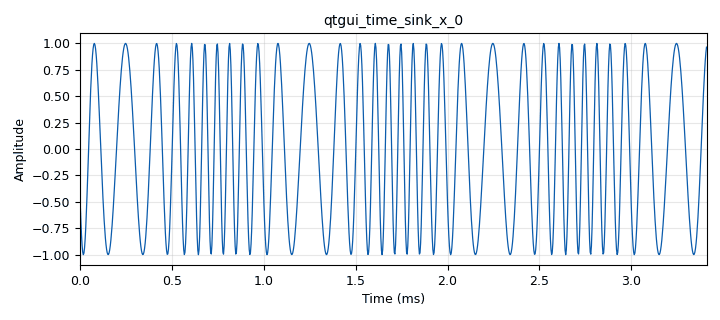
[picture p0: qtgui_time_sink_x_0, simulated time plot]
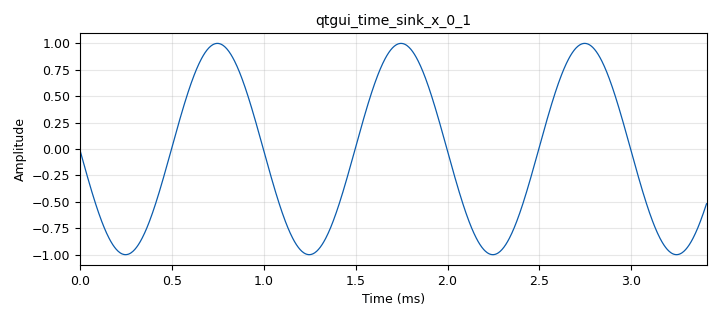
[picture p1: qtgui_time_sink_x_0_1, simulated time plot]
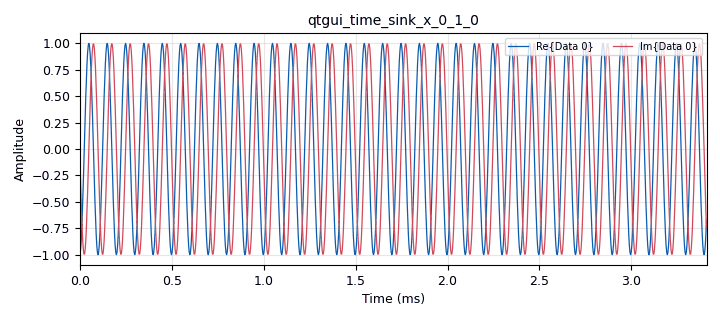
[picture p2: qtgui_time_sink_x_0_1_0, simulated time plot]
<?xml version='1.0' encoding='utf-8'?>
<?grc format='1' created='3.7.9'?>
<flow_graph>
<block>
<key>options</key>
<param><key>id</key><value>top_block</value></param>
<param><key>category</key><value>Custom</value></param>
<param><key>generate_options</key><value>qt_gui</value></param>
</block>
<block>
<key>variable</key>
<param><key>id</key><value>samp_rate</value></param>
<param><key>value</key><value>300e3</value></param>
</block>
<block>
<key>analog_phase_modulator_fc</key>
<param><key>id</key><value>analog_phase_modulator_fc_0</value></param>
<param><key>sensitivity</key><value>2*3.14*5000</value></param>
</block>
<block>
<key>analog_sig_source_x</key>
<param><key>id</key><value>analog_sig_source_x_0</value></param>
<param><key>amp</key><value>1</value></param>
<param><key>freq</key><value>1000</value></param>
<param><key>offset</key><value>0</value></param>
<param><key>type</key><value>float</value></param>
<param><key>samp_rate</key><value>samp_rate</value></param>
<param><key>waveform</key><value>analog.GR_COS_WAVE</value></param>
</block>
<block>
<key>analog_sig_source_x</key>
<param><key>id</key><value>analog_sig_source_x_0_0</value></param>
<param><key>amp</key><value>1</value></param>
<param><key>freq</key><value>10000</value></param>
<param><key>offset</key><value>0</value></param>
<param><key>type</key><value>complex</value></param>
<param><key>samp_rate</key><value>samp_rate</value></param>
<param><key>waveform</key><value>analog.GR_COS_WAVE</value></param>
</block>
<block>
<key>blocks_complex_to_real</key>
<param><key>id</key><value>blocks_complex_to_real_0</value></param>
</block>
<block>
<key>blocks_multiply_xx</key>
<param><key>id</key><value>blocks_multiply_xx_0</value></param>
<param><key>type</key><value>complex</value></param>
</block>
<block>
<key>iir_filter_xxx</key>
<param><key>id</key><value>iir_filter_xxx_0</value></param>
<param><key>fftaps</key><value>1.0/samp_rate</value></param>
<param><key>fbtaps</key><value>[1,1]</value></param>
<param><key>type</key><value>ffd</value></param>
</block>
<block>
<key>qtgui_time_sink_x</key>
<param><key>id</key><value>qtgui_time_sink_x_0</value></param>
<param><key>autoscale</key><value>True</value></param>
<param><key>color1</key><value>"blue"</value></param>
<param><key>label1</key><value></value></param>
<param><key>size</key><value>1024</value></param>
<param><key>srate</key><value>samp_rate</value></param>
<param><key>type</key><value>float</value></param>
</block>
<block>
<key>qtgui_time_sink_x</key>
<param><key>id</key><value>qtgui_time_sink_x_0_0</value></param>
<param><key>autoscale</key><value>True</value></param>
<param><key>_enabled</key><value>0</value></param>
<param><key>color1</key><value>"blue"</value></param>
<param><key>label1</key><value></value></param>
<param><key>size</key><value>1024</value></param>
<param><key>srate</key><value>samp_rate</value></param>
<param><key>type</key><value>float</value></param>
</block>
<block>
<key>qtgui_time_sink_x</key>
<param><key>id</key><value>qtgui_time_sink_x_0_1</value></param>
<param><key>autoscale</key><value>True</value></param>
<param><key>color1</key><value>"blue"</value></param>
<param><key>label1</key><value></value></param>
<param><key>size</key><value>1024</value></param>
<param><key>srate</key><value>samp_rate</value></param>
<param><key>type</key><value>float</value></param>
</block>
<block>
<key>qtgui_time_sink_x</key>
<param><key>id</key><value>qtgui_time_sink_x_0_1_0</value></param>
<param><key>autoscale</key><value>True</value></param>
<param><key>color1</key><value>"blue"</value></param>
<param><key>label1</key><value></value></param>
<param><key>color2</key><value>"red"</value></param>
<param><key>label2</key><value></value></param>
<param><key>size</key><value>1024</value></param>
<param><key>srate</key><value>samp_rate</value></param>
<param><key>type</key><value>complex</value></param>
</block>
<connection><source_block_id>analog_phase_modulator_fc_0</source_block_id><sink_block_id>blocks_multiply_xx_0</sink_block_id><source_key>0</source_key><sink_key>0</sink_key></connection>
<connection><source_block_id>analog_sig_source_x_0</source_block_id><sink_block_id>iir_filter_xxx_0</sink_block_id><source_key>0</source_key><sink_key>0</sink_key></connection>
<connection><source_block_id>analog_sig_source_x_0</source_block_id><sink_block_id>qtgui_time_sink_x_0_0</sink_block_id><source_key>0</source_key><sink_key>0</sink_key></connection>
<connection><source_block_id>analog_sig_source_x_0</source_block_id><sink_block_id>qtgui_time_sink_x_0_1</sink_block_id><source_key>0</source_key><sink_key>0</sink_key></connection>
<connection><source_block_id>analog_sig_source_x_0_0</source_block_id><sink_block_id>blocks_multiply_xx_0</sink_block_id><source_key>0</source_key><sink_key>1</sink_key></connection>
<connection><source_block_id>analog_sig_source_x_0_0</source_block_id><sink_block_id>qtgui_time_sink_x_0_1_0</sink_block_id><source_key>0</source_key><sink_key>0</sink_key></connection>
<connection><source_block_id>blocks_complex_to_real_0</source_block_id><sink_block_id>qtgui_time_sink_x_0</sink_block_id><source_key>0</source_key><sink_key>0</sink_key></connection>
<connection><source_block_id>blocks_multiply_xx_0</source_block_id><sink_block_id>blocks_complex_to_real_0</sink_block_id><source_key>0</source_key><sink_key>0</sink_key></connection>
<connection><source_block_id>iir_filter_xxx_0</source_block_id><sink_block_id>analog_phase_modulator_fc_0</sink_block_id><source_key>0</source_key><sink_key>0</sink_key></connection>
</flow_graph>
